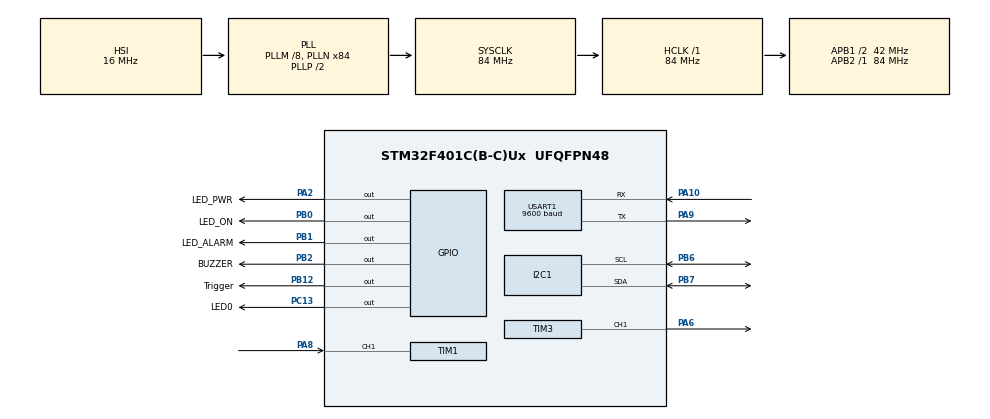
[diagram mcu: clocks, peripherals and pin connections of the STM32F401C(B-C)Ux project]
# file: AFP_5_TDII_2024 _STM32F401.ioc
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Mcu.Family=STM32F4
Mcu.Name=STM32F401C(B-C)Ux
Mcu.Package=UFQFPN48
NVIC.PriorityGroup=NVIC_PRIORITYGROUP_4
NVIC.TIM1_CC_IRQn=true\:0\:0\:false\:false\:true\:true\:true\:true
PA10.Mode=Asynchronous
PA10.Signal=USART1_RX
PA2.GPIO_Label=LED_PWR
PA2.PinState=GPIO_PIN_SET
PA2.Signal=GPIO_Output
PA6.Signal=S_TIM3_CH1
PA8.Signal=S_TIM1_CH1
PA9.Mode=Asynchronous
PA9.Signal=USART1_TX
PB0.GPIO_Label=LED_ON
PB0.Signal=GPIO_Output
PB1.GPIO_Label=LED_ALARM
PB1.Signal=GPIO_Output
PB12.GPIO_Label=Trigger
PB12.Signal=GPIO_Output
PB2.GPIO_Label=BUZZER
PB2.Signal=GPIO_Output
PB6.Mode=I2C
PB6.Signal=I2C1_SCL
PB7.Mode=I2C
PB7.Signal=I2C1_SDA
PC13-ANTI_TAMP.GPIO_Label=LED0
PC13-ANTI_TAMP.Signal=GPIO_Output
PC14-OSC32_IN.Mode=LSE-External-Clock-Source
PC14-OSC32_IN.Signal=RCC_OSC32_IN
PC15-OSC32_OUT.Mode=LSE-External-Clock-Source
PC15-OSC32_OUT.Signal=RCC_OSC32_OUT
PH0\ -\ OSC_IN.Mode=HSE-External-Clock-Source
PH0\ -\ OSC_IN.Signal=RCC_OSC_IN
PH1\ -\ OSC_OUT.Mode=HSE-External-Clock-Source
PH1\ -\ OSC_OUT.Signal=RCC_OSC_OUT
ProjectManager.HeapSize=0x200
ProjectManager.StackSize=0x400
ProjectManager.TargetToolchain=STM32CubeIDE
RCC.48MHZClocksFreq_Value=42000000
RCC.AHBFreq_Value=84000000
RCC.APB1CLKDivider=RCC_HCLK_DIV2
RCC.APB1Freq_Value=42000000
RCC.APB1TimFreq_Value=84000000
RCC.APB2Freq_Value=84000000
RCC.APB2TimFreq_Value=84000000
RCC.CortexFreq_Value=84000000
RCC.HCLKFreq_Value=84000000
RCC.HSE_VALUE=25000000
RCC.HSI_VALUE=16000000
RCC.LSE_VALUE=32768
RCC.PLLM=8
RCC.PLLN=84
RCC.SYSCLKFreq_VALUE=84000000
RCC.SYSCLKSource=RCC_SYSCLKSOURCE_PLLCLK
RCC.VCOOutputFreq_Value=168000000
SH.S_TIM1_CH1.0=TIM1_CH1,Input_Capture1_from_TI1
SH.S_TIM3_CH1.0=TIM3_CH1,PWM Generation1 CH1
TIM1.Channel-Input_Capture1_from_TI1=TIM_CHANNEL_1
TIM1.Period=0xffff-1
TIM1.Prescaler=84-1
TIM3.Channel-PWM\ Generation1\ CH1=TIM_CHANNEL_1
TIM3.Period=20000
TIM3.Prescaler=84-1
USART1.BaudRate=9600
USART1.VirtualMode=VM_ASYNC
VP_TIM1_VS_ClockSourceINT.Mode=Internal
VP_TIM3_VS_ClockSourceINT.Mode=Internal
board=custom

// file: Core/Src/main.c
/* USER CODE BEGIN Header */
/**
 ******************************************************************************
 * @file           : main.c
 * @brief          : Main program body
 ******************************************************************************
 * @attention
 *
 * Copyright (c) 2025 STMicroelectronics.
 * All rights reserved.
 *
 * This software is licensed under terms that can be found in the LICENSE file
 * in the root directory of this software component.
 * If no LICENSE file comes with this software, it is provided AS-IS.
 *
 ******************************************************************************
 */
/* USER CODE END Header */
#include "main.h"
#include "i2c.h"
#include "tim.h"
#include "usart.h"
#include "gpio.h"

/* USER CODE BEGIN Includes */
#include "Headers.h"
/* USER CODE END Includes */

void SystemClock_Config(void);

int main(void)
{

	/* MCU Configuration--------------------------------------------------------*/

	/* Reset of all peripherals, Initializes the Flash interface and the Systick. */
	HAL_Init();

	/* Configure the system clock */
	SystemClock_Config();

	/* Initialize all configured peripherals */
	MX_GPIO_Init();
	MX_I2C1_Init();
	MX_USART1_UART_Init();
	MX_TIM1_Init();
	MX_TIM3_Init();
	/* USER CODE BEGIN 2 */

	delay_t LCD_Refresh;
	delayInit(&LCD_Refresh, REFRESH_RATE);	//Cada 1s se refresca la pantalla LCD

	//Inicializar Modulos
	LCD_Init();
	HCSR04_Init();
	Servo_Init();
	MEF_Init();
	LCD_Clear();

	HC05_SendString("Sistema Encendido\n");

	/*LED_PWR Indica que el dispositivo esta correctamente alimentado,
	 * por lo tanto no debe cambiar su estado durante la ejecucion*/
	HAL_GPIO_LockPin(LED_PWR_GPIO_Port, LED_PWR_Pin);

	HAL_GPIO_LockPin(LED0_GPIO_Port, LED0_Pin); //Usado solo durante debug

	/* USER CODE END 2 */

	/* Infinite loop */
	/* USER CODE BEGIN WHILE */
	while (1)
	{

		if(delayRead(&LCD_Refresh) && !(MEF_GetAlarmState())){
			LCD_ShowData(MEF_GetDistance(), MEF_GetAngle());
		}

		MEF_Update();

		/* USER CODE END WHILE */

	}
}

void SystemClock_Config(void)
{
	RCC_OscInitTypeDef RCC_OscInitStruct = {0};
	RCC_ClkInitTypeDef RCC_ClkInitStruct = {0};

	/** Configure the main internal regulator output voltage
	 */
	__HAL_RCC_PWR_CLK_ENABLE();
	__HAL_PWR_VOLTAGESCALING_CONFIG(PWR_REGULATOR_VOLTAGE_SCALE2);

	/** Initializes the RCC Oscillators according to the specified parameters
	 * in the RCC_OscInitTypeDef structure.
	 */
	RCC_OscInitStruct.OscillatorType = RCC_OSCILLATORTYPE_HSI;
	RCC_OscInitStruct.HSIState = RCC_HSI_ON;
	RCC_OscInitStruct.HSICalibrationValue = RCC_HSICALIBRATION_DEFAULT;
	RCC_OscInitStruct.PLL.PLLState = RCC_PLL_ON;
	RCC_OscInitStruct.PLL.PLLSource = RCC_PLLSOURCE_HSI;
	RCC_OscInitStruct.PLL.PLLM = 8;
	RCC_OscInitStruct.PLL.PLLN = 84;
	RCC_OscInitStruct.PLL.PLLP = RCC_PLLP_DIV2;
	RCC_OscInitStruct.PLL.PLLQ = 4;
	if (HAL_RCC_OscConfig(&RCC_OscInitStruct) != HAL_OK)
	{
		Error_Handler();
	}

	/** Initializes the CPU, AHB and APB buses clocks
	 */
	RCC_ClkInitStruct.ClockType = RCC_CLOCKTYPE_HCLK|RCC_CLOCKTYPE_SYSCLK
			|RCC_CLOCKTYPE_PCLK1|RCC_CLOCKTYPE_PCLK2;
	RCC_ClkInitStruct.SYSCLKSource = RCC_SYSCLKSOURCE_PLLCLK;
	RCC_ClkInitStruct.AHBCLKDivider = RCC_SYSCLK_DIV1;
	RCC_ClkInitStruct.APB1CLKDivider = RCC_HCLK_DIV2;
	RCC_ClkInitStruct.APB2CLKDivider = RCC_HCLK_DIV1;

	if (HAL_RCC_ClockConfig(&RCC_ClkInitStruct, FLASH_LATENCY_2) != HAL_OK)
	{
		Error_Handler();
	}
}

void Error_Handler(void)
{
	/* USER CODE BEGIN Error_Handler_Debug */
	/* User can add his own implementation to report the HAL error return state */
	__disable_irq();
	HAL_GPIO_WritePin(LED_ON_GPIO_Port, LED_ON_Pin, GPIO_PIN_RESET);
	HAL_GPIO_WritePin(LED_ALARM_GPIO_Port, LED_ALARM_Pin, GPIO_PIN_RESET);
	while (1){}
	/* USER CODE END Error_Handler_Debug */
}
